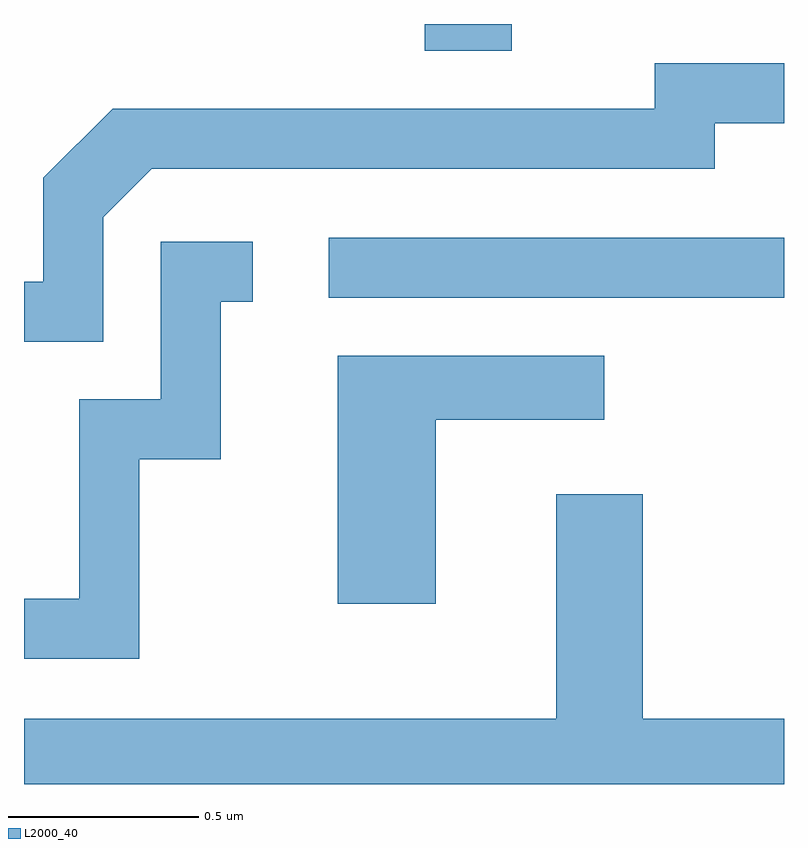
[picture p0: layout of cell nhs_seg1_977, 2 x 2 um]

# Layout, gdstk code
import gdstk
lib = gdstk.Library(unit=1e-6, precision=1e-09)
def R(c, l, rs):  # rectangles x0, y0, x1, y1
    for r in rs: c.add(gdstk.rectangle(r[:2], r[2:], *l))
def P(c, l, *ps):  # polygons
    for p in ps: c.add(gdstk.Polygon(p, *l))
L2000_40 = (2000, 40)

nhs_seg1_977 = lib.new_cell('nhs_seg1_977')
R(nhs_seg1_977, L2000_40, [(193.413,860.991,194.611,861.149), (193.666,861.641,193.894,861.712)])
P(nhs_seg1_977, L2000_40, [(192.819,861.204),(192.947,861.331),(194.429,861.331),(194.429,861.451),(194.611,861.451),(194.611,861.609),(194.271,861.609),(194.271,861.489),(192.844,861.489),(192.661,861.307),(192.661,861.034),(192.611,861.034),(192.611,860.876),(192.819,860.876)],
  [(192.914,860.566),(193.129,860.566),(193.129,860.981),(193.213,860.981),(193.213,861.139),(192.971,861.139),(192.971,860.724),(192.756,860.724),(192.756,860.199),(192.611,860.199),(192.611,860.041),(192.914,860.041)],
  [(193.694,860.671),(194.138,860.671),(194.138,860.839),(193.436,860.839),(193.436,860.186),(193.694,860.186)],
  [(194.611,859.884),(194.239,859.884),(194.239,860.474),(194.011,860.474),(194.011,859.884),(192.611,859.884),(192.611,859.712),(194.611,859.712)])

lib.write_gds('nhs_seg1_977.gds')
